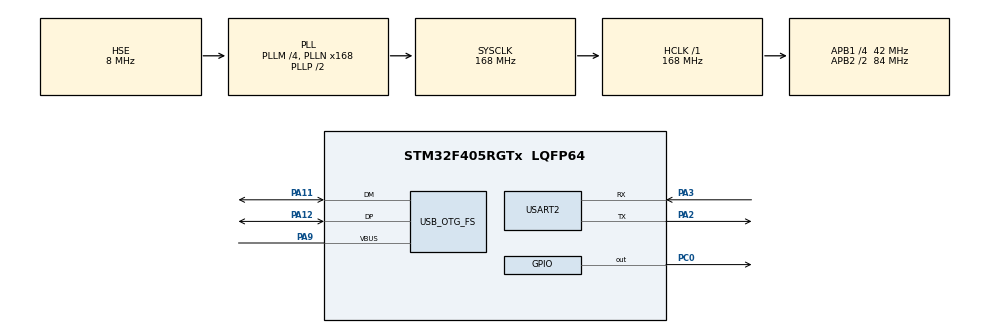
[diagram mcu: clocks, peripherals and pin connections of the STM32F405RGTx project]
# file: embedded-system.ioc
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Dma.Request0=USART2_RX
Dma.USART2_RX.0.Direction=DMA_PERIPH_TO_MEMORY
Dma.USART2_RX.0.FIFOMode=DMA_FIFOMODE_DISABLE
Dma.USART2_RX.0.Instance=DMA1_Stream5
Dma.USART2_RX.0.MemDataAlignment=DMA_MDATAALIGN_BYTE
Dma.USART2_RX.0.MemInc=DMA_MINC_ENABLE
Dma.USART2_RX.0.Mode=DMA_CIRCULAR
Dma.USART2_RX.0.PeriphDataAlignment=DMA_PDATAALIGN_BYTE
Dma.USART2_RX.0.PeriphInc=DMA_PINC_DISABLE
Dma.USART2_RX.0.Priority=DMA_PRIORITY_LOW
FATFS._FS_EXFAT=1
FATFS._MAX_SS=4096
FATFS._USE_LFN=1
Mcu.Family=STM32F4
Mcu.Name=STM32F405RGTx
Mcu.Package=LQFP64
NVIC.DMA1_Stream5_IRQn=true\:0\:0\:false\:false\:true\:false\:true\:true
NVIC.OTG_FS_IRQn=true\:0\:0\:false\:false\:true\:false\:true\:true
NVIC.PriorityGroup=NVIC_PRIORITYGROUP_4
PA11.Mode=Host_Only
PA11.Signal=USB_OTG_FS_DM
PA12.Mode=Host_Only
PA12.Signal=USB_OTG_FS_DP
PA13.Mode=Serial_Wire
PA13.Signal=SYS_JTMS-SWDIO
PA14.Mode=Serial_Wire
PA14.Signal=SYS_JTCK-SWCLK
PA2.Mode=Asynchronous
PA2.Signal=USART2_TX
PA3.Mode=Asynchronous
PA3.Signal=USART2_RX
PA9.Mode=Activate_VBUS
PA9.Signal=USB_OTG_FS_VBUS
PC0.Signal=GPIO_Output
PH0-OSC_IN.Mode=HSE-External-Oscillator
PH0-OSC_IN.Signal=RCC_OSC_IN
PH1-OSC_OUT.Mode=HSE-External-Oscillator
PH1-OSC_OUT.Signal=RCC_OSC_OUT
ProjectManager.HeapSize=0x200
ProjectManager.StackSize=0x400
ProjectManager.TargetToolchain=STM32CubeIDE
RCC.48MHZClocksFreq_Value=48000000
RCC.AHBFreq_Value=168000000
RCC.APB1CLKDivider=RCC_HCLK_DIV4
RCC.APB1Freq_Value=42000000
RCC.APB1TimFreq_Value=84000000
RCC.APB2CLKDivider=RCC_HCLK_DIV2
RCC.APB2Freq_Value=84000000
RCC.APB2TimFreq_Value=168000000
RCC.CortexFreq_Value=168000000
RCC.HCLKFreq_Value=168000000
RCC.HSE_VALUE=8000000
RCC.HSI_VALUE=16000000
RCC.LSE_VALUE=32768
RCC.PLLM=4
RCC.PLLN=168
RCC.PLLQ=7
RCC.SYSCLKFreq_VALUE=168000000
RCC.SYSCLKSource=RCC_SYSCLKSOURCE_PLLCLK
RCC.VCOOutputFreq_Value=336000000
USART2.VirtualMode=VM_ASYNC
USB_HOST.BSP.number=1
USB_HOST.USBH_HandleTypeDef-MSC_FS=hUsbHostFS
USB_HOST.VirtualModeFS=Msc
USB_HOST0.BSP.STBoard=false
USB_HOST0.BSP.api=Unknown
USB_HOST0.BSP.instance=PC0
USB_HOST0.BSP.ip=GPIO
USB_HOST0.BSP.mode=Output
USB_HOST0.BSP.name=Drive_VBUS_FS
USB_HOST0.BSP.solution=PC0
USB_OTG_FS.VirtualMode=Host_Only
USB_OTG_FS.phy_itface=HCD_PHY_EMBEDDED
VP_FATFS_VS_USB.Mode=USB
VP_USB_HOST_VS_USB_HOST_MSC_FS.Mode=MSC_FS
board=custom

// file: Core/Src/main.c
/* USER CODE BEGIN Header */
/**
  ******************************************************************************
  * @file           : main.c
  * @brief          : Main program body
  ******************************************************************************
  * @attention
  *
  * Copyright (c) 2023 STMicroelectronics.
  * All rights reserved.
  *
  * This software is licensed under terms that can be found in the LICENSE file
  * in the root directory of this software component.
  * If no LICENSE file comes with this software, it is provided AS-IS.
  *
  ******************************************************************************
  */
/* USER CODE END Header */
#include "main.h"
#include "fatfs.h"
#include "usb_host.h"

/* USER CODE BEGIN Includes */

#include "File_Handling.h"
#include <stdio.h>

/* USER CODE END Includes */

UART_HandleTypeDef huart2;
DMA_HandleTypeDef hdma_usart2_rx;

/* USER CODE BEGIN PV */

uint8_t rx_buffer[5268];
extern int Appli_state;

/* USER CODE END PV */

void SystemClock_Config(void);
static void MX_GPIO_Init(void);
static void MX_DMA_Init(void);
static void MX_USART2_UART_Init(void);
void MX_USB_HOST_Process(void);

int main(void)
{

  /* MCU Configuration--------------------------------------------------------*/

  /* Reset of all peripherals, Initializes the Flash interface and the Systick. */
  HAL_Init();

  /* Configure the system clock */
  SystemClock_Config();

  /* Initialize all configured peripherals */
  MX_GPIO_Init();
  MX_DMA_Init();
  MX_USART2_UART_Init();
  MX_FATFS_Init();
  MX_USB_HOST_Init();

  /* Infinite loop */
  /* USER CODE BEGIN WHILE */
  HAL_UART_Receive_DMA(&huart2, rx_buffer, sizeof(rx_buffer));
  while (1)
  {
    /* USER CODE END WHILE */
    MX_USB_HOST_Process();
    /* USER CODE BEGIN 3 */
    switch(Appli_state)
    {
       	case APPLICATION_READY:
       		Mount_USB();

   			  Check_USB_Details();   // check space details

   			  Scan_USB("/");   // scan for files and directories

   			  Create_Dir("/Music");
   			  Create_File("/Music/Music_File.wav");

   			  Write_File("/Music/Music_File.wav", rx_buffer, sizeof(rx_buffer));

       		Appli_state = APPLICATION_IDLE;
       		break;
       	default:
       		break;
    }
  }
  /* USER CODE END 3 */
}

void SystemClock_Config(void)
{
  RCC_OscInitTypeDef RCC_OscInitStruct = {0};
  RCC_ClkInitTypeDef RCC_ClkInitStruct = {0};

  /** Configure the main internal regulator output voltage
  */
  __HAL_RCC_PWR_CLK_ENABLE();
  __HAL_PWR_VOLTAGESCALING_CONFIG(PWR_REGULATOR_VOLTAGE_SCALE1);

  /** Initializes the RCC Oscillators according to the specified parameters
  * in the RCC_OscInitTypeDef structure.
  */
  RCC_OscInitStruct.OscillatorType = RCC_OSCILLATORTYPE_HSE;
  RCC_OscInitStruct.HSEState = RCC_HSE_ON;
  RCC_OscInitStruct.PLL.PLLState = RCC_PLL_ON;
  RCC_OscInitStruct.PLL.PLLSource = RCC_PLLSOURCE_HSE;
  RCC_OscInitStruct.PLL.PLLM = 4;
  RCC_OscInitStruct.PLL.PLLN = 168;
  RCC_OscInitStruct.PLL.PLLP = RCC_PLLP_DIV2;
  RCC_OscInitStruct.PLL.PLLQ = 7;
  if (HAL_RCC_OscConfig(&RCC_OscInitStruct) != HAL_OK)
  {
    Error_Handler();
  }

  /** Initializes the CPU, AHB and APB buses clocks
  */
  RCC_ClkInitStruct.ClockType = RCC_CLOCKTYPE_HCLK|RCC_CLOCKTYPE_SYSCLK
                              |RCC_CLOCKTYPE_PCLK1|RCC_CLOCKTYPE_PCLK2;
  RCC_ClkInitStruct.SYSCLKSource = RCC_SYSCLKSOURCE_PLLCLK;
  RCC_ClkInitStruct.AHBCLKDivider = RCC_SYSCLK_DIV1;
  RCC_ClkInitStruct.APB1CLKDivider = RCC_HCLK_DIV4;
  RCC_ClkInitStruct.APB2CLKDivider = RCC_HCLK_DIV2;

  if (HAL_RCC_ClockConfig(&RCC_ClkInitStruct, FLASH_LATENCY_5) != HAL_OK)
  {
    Error_Handler();
  }
}

static void MX_USART2_UART_Init(void)
{

  huart2.Instance = USART2;
  huart2.Init.BaudRate = 115200;
  huart2.Init.WordLength = UART_WORDLENGTH_8B;
  huart2.Init.StopBits = UART_STOPBITS_1;
  huart2.Init.Parity = UART_PARITY_NONE;
  huart2.Init.Mode = UART_MODE_TX_RX;
  huart2.Init.HwFlowCtl = UART_HWCONTROL_NONE;
  huart2.Init.OverSampling = UART_OVERSAMPLING_16;
  if (HAL_UART_Init(&huart2) != HAL_OK)
  {
    Error_Handler();
  }

}

static void MX_DMA_Init(void)
{

  /* DMA controller clock enable */
  __HAL_RCC_DMA1_CLK_ENABLE();

  /* DMA interrupt init */
  /* DMA1_Stream5_IRQn interrupt configuration */
  HAL_NVIC_SetPriority(DMA1_Stream5_IRQn, 0, 0);
  HAL_NVIC_EnableIRQ(DMA1_Stream5_IRQn);

}

static void MX_GPIO_Init(void)
{
  GPIO_InitTypeDef GPIO_InitStruct = {0};

  /* GPIO Ports Clock Enable */
  __HAL_RCC_GPIOH_CLK_ENABLE();
  __HAL_RCC_GPIOC_CLK_ENABLE();
  __HAL_RCC_GPIOA_CLK_ENABLE();

  /*Configure GPIO pin Output Level */
  HAL_GPIO_WritePin(GPIOC, GPIO_PIN_0, GPIO_PIN_RESET);

  /*Configure GPIO pin : PC0 */
  GPIO_InitStruct.Pin = GPIO_PIN_0;
  GPIO_InitStruct.Mode = GPIO_MODE_OUTPUT_PP;
  GPIO_InitStruct.Pull = GPIO_NOPULL;
  GPIO_InitStruct.Speed = GPIO_SPEED_FREQ_LOW;
  HAL_GPIO_Init(GPIOC, &GPIO_InitStruct);

}

void Error_Handler(void)
{
  __disable_irq();
  while (1)
  {
  }
}
